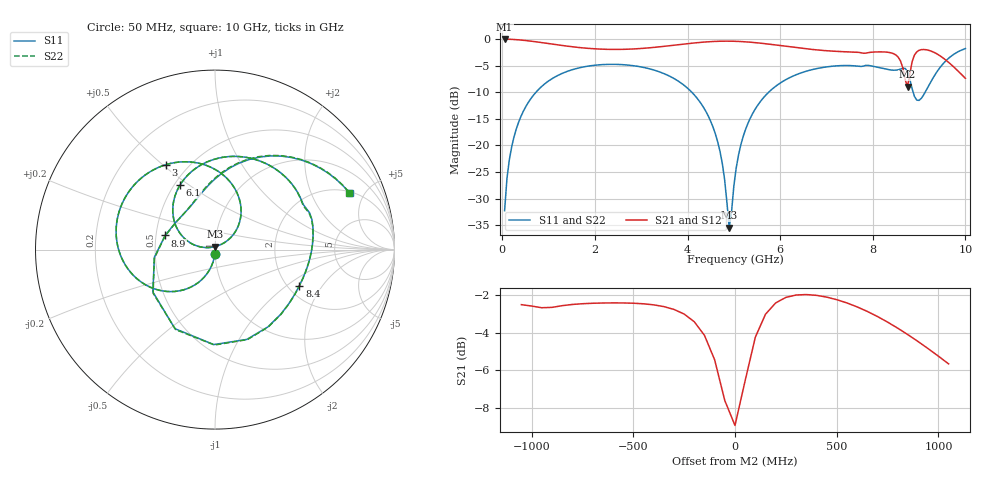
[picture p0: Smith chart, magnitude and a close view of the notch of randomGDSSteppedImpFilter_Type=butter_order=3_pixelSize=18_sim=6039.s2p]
! freq	dB(S11)	phase(S11)	dB(S12)	phase(S12)
!  dB(S21)	phase(S21)	dB(S22)	phase(S22)
!S-par simulation data
#  GHz  S  DB  R 50
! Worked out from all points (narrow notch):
!   200 points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, 50 MHz to 10 GHz, reference 50 ohm
!   highest |S21| = -0.01 dB at 50 MHz (marker M1); lowest = -9.0 dB at 8.75 GHz (marker M2)
!   notch at M2: 7.3 dB deep, 182 MHz wide at half that depth
!   lowest |S11| = -35.5 dB at 4.9 GHz (marker M3), VSWR 1.03, Z = 49.9 + j1.68 ohm
!   |S11| at or under -10 dB: start of sweep to 728.1 MHz; 4.091 GHz to 5.753 GHz (1.661 GHz wide, 33.8 % of centre); 8.872 GHz to 9.131 GHz (258.9 MHz wide, 2.88 % of centre)
!   |S22| runs from -35.6 to -1.8 dB; largest |S21 - S12| = 0
!   S11 on the Smith chart (normalised r, x): 50 MHz: 1.00, -0.05; 3 GHz: 0.38, +0.51; 6.1 GHz: 0.53, +0.46; 8.4 GHz: 2.30, -1.25; 8.9 GHz: 0.56, +0.10; 10 GHz: 2.11, +3.92
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0.05  -32.28 -93.1  -0.01 -3.0  -0.01 -3.0  -32.28 -93.1
0.2  -20.39 -102.4  -0.06 -12.0  -0.06 -12.0  -20.39 -102.4
0.5  -12.83 -120.0  -0.27 -29.5  -0.27 -29.5  -12.83 -120.0
1.75  -5.25 176.3  -1.67 -93.2  -1.67 -93.2  -5.25 176.3
3  -5.25 119.9  -1.77 -149.9  -1.77 -149.9  -5.25 120.0
3.4  -6.19 100.8  -1.46 -169.3  -1.46 -169.3  -6.19 100.8
4.5  -15.47 43.4  -0.48 129.2  -0.48 129.2  -15.47 43.4
4.75  -23.36 36.3  -0.40 113.7  -0.40 113.7  -23.37 36.2
4.9  -35.48 91.3  -0.40 104.3  -0.40 104.3  -35.64 91.1
5.05  -24.31 168.7  -0.43 94.9  -0.43 94.9  -24.32 169.1
5.4  -14.11 157.6  -0.62 72.9  -0.62 72.9  -14.11 157.8
6.1  -7.75 118.2  -1.34 30.6  -1.34 30.6  -7.75 118.3
6.7  -5.73 84.8  -1.96 -4.0  -1.96 -4.0  -5.73 84.8
7.65  -5.08 31.9  -2.47 -59.7  -2.47 -59.7  -5.10 31.7
8.35  -5.76 -17.9  -2.52 -109.0  -2.52 -109.0  -5.75 -17.9
8.4  -5.82 -23.2  -2.61 -113.7  -2.61 -113.7  -5.82 -23.1
8.6  -5.65 -55.7  -4.14 -136.5  -4.14 -136.5  -5.62 -55.5
8.75  -6.13 -116.8  -8.95 -122.0  -8.95 -122.0  -6.08 -116.2
8.9  -10.79 164.1  -3.01 -120.3  -3.01 -120.3  -10.76 165.5
9.3  -7.35 84.5  -2.41 -174.9  -2.41 -174.9  -7.37 85.4
9.65  -3.52 50.3  -4.48 148.2  -4.48 148.2  -3.53 50.8
10  -1.79 22.6  -7.39 118.6  -7.39 118.6  -1.79 23.0
